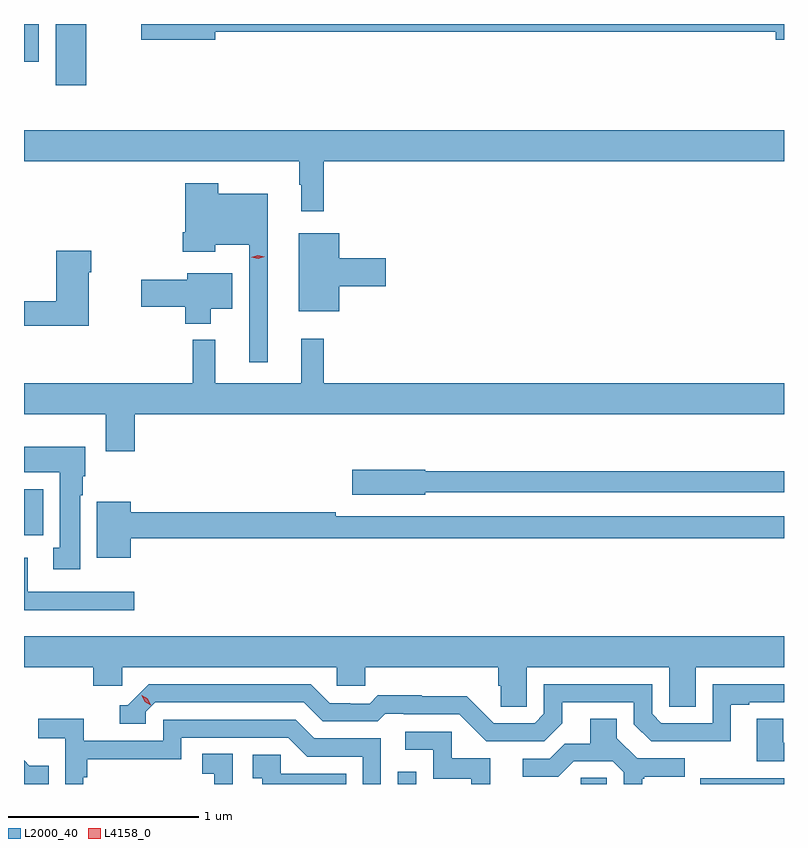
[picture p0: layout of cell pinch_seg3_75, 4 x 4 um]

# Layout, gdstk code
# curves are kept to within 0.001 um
import gdstk
lib = gdstk.Library(unit=1e-6, precision=1e-09)
def R(c, l, rs):  # rectangles x0, y0, x1, y1
    for r in rs: c.add(gdstk.rectangle(r[:2], r[2:], *l))
def P(c, l, *ps):  # polygons
    for p in ps: c.add(gdstk.Polygon(p, *l))
L2000_40 = (2000, 40)
L4158_0 = (4158, 0)

pinch_seg3_75 = lib.new_cell('pinch_seg3_75')
R(pinch_seg3_75, L2000_40, [(1021.386,726.942,1021.482,727.006), (1022.347,726.942,1022.484,726.975), (1022.976,726.942,1023.418,726.972), (1019.418,728.252,1019.518,728.494), (1019.585,730.62,1019.746,730.942), (1019.418,730.743,1019.496,730.942)])
P(pinch_seg3_75, L2000_40, [(1020.424,730.9),(1023.374,730.9),(1023.374,730.858),(1023.418,730.858),(1023.418,730.942),(1020.036,730.942),(1020.036,730.858),(1020.424,730.858)],
  [(1020.995,730.22),(1023.418,730.22),(1023.418,730.384),(1019.418,730.384),(1019.418,730.22),(1020.867,730.22),(1020.867,730.097),(1020.878,730.097),(1020.878,729.957),(1020.995,729.957)],
  [(1020.7,730.048),(1020.441,730.048),(1020.441,730.105),(1020.266,730.105),(1020.266,729.847),(1020.254,729.847),(1020.254,729.743),(1020.424,729.743),(1020.424,729.779),(1020.603,729.779),(1020.603,729.162),(1020.7,729.162)],
  [(1021.078,729.563),(1021.321,729.563),(1021.321,729.71),(1021.078,729.71),(1021.078,729.841),(1020.863,729.841),(1020.863,729.431),(1021.078,729.431)],
  [(1019.758,729.635),(1019.771,729.635),(1019.771,729.748),(1019.588,729.748),(1019.588,729.482),(1019.418,729.482),(1019.418,729.354),(1019.758,729.354)],
  [(1020.4,729.443),(1020.514,729.443),(1020.514,729.631),(1020.278,729.631),(1020.278,729.596),(1020.036,729.596),(1020.036,729.454),(1020.266,729.454),(1020.266,729.365),(1020.4,729.365)],
  [(1020.002,728.888),(1023.418,728.888),(1023.418,729.052),(1020.995,729.052),(1020.995,729.286),(1020.878,729.286),(1020.878,729.052),(1020.425,729.052),(1020.425,729.28),(1020.307,729.28),(1020.307,729.052),(1019.418,729.052),(1019.418,728.888),(1019.849,728.888),(1019.849,728.694),(1020.002,728.694)],
  [(1019.713,728.462),(1019.728,728.462),(1019.728,728.562),(1019.74,728.562),(1019.74,728.716),(1019.418,728.716),(1019.418,728.582),(1019.606,728.582),(1019.606,728.186),(1019.573,728.186),(1019.573,728.073),(1019.713,728.073)],
  [(1021.53,728.478),(1023.418,728.478),(1023.418,728.587),(1021.53,728.587),(1021.53,728.595),(1021.146,728.595),(1021.146,728.465),(1021.53,728.465)],
  [(1019.98,728.236),(1023.418,728.236),(1023.418,728.352),(1021.058,728.352),(1021.058,728.372),(1019.98,728.372),(1019.98,728.428),(1019.801,728.428),(1019.801,728.132),(1019.98,728.132)],
  [(1019.998,727.953),(1019.437,727.953),(1019.437,728.134),(1019.418,728.134),(1019.418,727.856),(1019.998,727.856)],
  [(1022.064,727.556),(1022.814,727.556),(1022.814,727.348),(1022.953,727.348),(1022.953,727.556),(1023.418,727.556),(1023.418,727.72),(1019.418,727.72),(1019.418,727.556),(1019.783,727.556),(1019.783,727.458),(1019.934,727.458),(1019.934,727.556),(1021.065,727.556),(1021.065,727.458),(1021.215,727.458),(1021.215,727.556),(1021.913,727.556),(1021.913,727.458),(1021.927,727.458),(1021.927,727.348),(1022.064,727.348)],
  [(1023.139,727.359),(1023.235,727.359),(1023.235,727.371),(1023.418,727.371),(1023.418,727.467),(1023.042,727.467),(1023.042,727.263),(1022.772,727.263),(1022.724,727.311),(1022.724,727.467),(1022.154,727.467),(1022.154,727.311),(1022.106,727.263),(1021.89,727.263),(1021.748,727.405),(1021.512,727.405),(1021.512,727.408),(1021.279,727.408),(1021.237,727.365),(1021.134,727.365),(1021.134,727.368),(1021.027,727.368),(1020.928,727.467),(1020.075,727.467),(1019.964,727.356),(1019.921,727.356),(1019.921,727.26),(1020.06,727.26),(1020.06,727.323),(1020.108,727.371),(1020.891,727.371),(1020.99,727.272),(1021.279,727.272),(1021.318,727.311),(1021.417,727.311),(1021.417,727.308),(1021.71,727.308),(1021.851,727.167),(1022.157,727.167),(1022.251,727.261),(1022.251,727.371),(1022.628,727.371),(1022.628,727.257),(1022.718,727.167),(1023.139,727.166)],
  [(1023.418,727.158),(1023.415,727.158),(1023.415,727.286),(1023.275,727.286),(1023.275,727.062),(1023.418,727.062)],
  [(1022.671,726.969),(1022.683,726.969),(1022.683,726.98),(1022.896,726.98),(1022.896,727.077),(1022.646,727.077),(1022.539,727.184),(1022.539,727.286),(1022.399,727.286),(1022.399,727.154),(1022.264,727.154),(1022.184,727.074),(1022.043,727.074),(1022.043,726.981),(1022.23,726.981),(1022.311,727.062),(1022.517,727.062),(1022.574,727.005),(1022.574,726.942),(1022.671,726.942)],
  [(1019.73,726.977),(1019.75,726.977),(1019.75,727.073),(1020.246,727.073),(1020.246,727.185),(1020.81,727.185),(1020.909,727.086),(1021.2,727.086),(1021.2,726.942),(1021.296,726.942),(1021.296,727.182),(1020.946,727.182),(1020.847,727.281),(1020.15,727.281),(1020.15,727.17),(1019.732,727.17),(1019.732,727.286),(1019.493,727.286),(1019.493,727.184),(1019.634,727.184),(1019.634,726.942),(1019.73,726.942)],
  [(1021.873,727.077),(1021.668,727.077),(1021.668,727.218),(1021.425,727.218),(1021.425,727.122),(1021.572,727.122),(1021.572,726.969),(1021.771,726.969),(1021.771,726.942),(1021.873,726.942)],
  [(1020.516,727.1),(1020.357,727.1),(1020.357,726.997),(1020.42,726.997),(1020.42,726.942),(1020.516,726.942)],
  [(1021.115,726.997),(1020.768,726.997),(1020.768,727.095),(1020.621,727.095),(1020.621,726.971),(1020.672,726.971),(1020.672,726.942),(1021.115,726.942)],
  [(1019.549,727.039),(1019.445,727.039),(1019.418,727.066),(1019.418,726.942),(1019.549,726.942)])
P(pinch_seg3_75, L4158_0, [(1020.65,729.706),(1020.613,729.714),(1020.613,729.715),(1020.613,729.715),(1020.648,729.726),(1020.684,729.718),(1020.685,729.718),(1020.684,729.718)],
  [(1020.084,727.357),(1020.053,727.376),(1020.037,727.409),(1020.037,727.409),(1020.037,727.409),(1020.068,727.39),(1020.085,727.358),(1020.085,727.357)])

lib.write_gds('pinch_seg3_75.gds')
